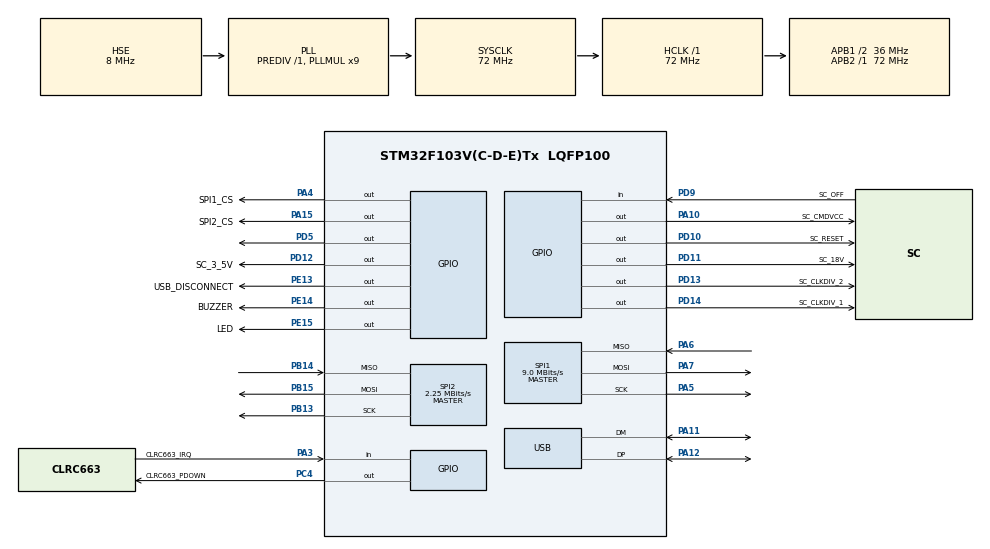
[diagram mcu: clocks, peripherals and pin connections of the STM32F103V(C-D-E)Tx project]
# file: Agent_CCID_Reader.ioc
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Mcu.Family=STM32F1
Mcu.Name=STM32F103V(C-D-E)Tx
Mcu.Package=LQFP100
NVIC.PriorityGroup=NVIC_PRIORITYGROUP_2
NVIC.SPI1_IRQn=true\:0\:3\:false\:false\:true\:true\:true\:true
NVIC.TIM1_CC_IRQn=true\:0\:3\:false\:false\:true\:true\:true\:true
NVIC.TIM2_IRQn=true\:3\:0\:false\:false\:true\:false\:true\:true
NVIC.TIM3_IRQn=true\:0\:3\:false\:false\:true\:true\:true\:true
NVIC.TIM4_IRQn=true\:0\:3\:false\:false\:true\:true\:true\:true
NVIC.TimeBase=TIM2_IRQn
NVIC.TimeBaseIP=TIM2
NVIC.USB_LP_CAN1_RX0_IRQn=true\:0\:2\:false\:false\:true\:false\:true\:true
OSC_IN.Mode=HSE-External-Oscillator
OSC_IN.Signal=RCC_OSC_IN
OSC_OUT.Mode=HSE-External-Oscillator
OSC_OUT.Signal=RCC_OSC_OUT
PA10.GPIO_Label=SC_CMDVCC
PA10.GPIO_Speed=GPIO_SPEED_FREQ_HIGH
PA10.PinState=GPIO_PIN_SET
PA10.Signal=GPIO_Output
PA11.Mode=Device
PA11.Signal=USB_DM
PA12.Mode=Device
PA12.Signal=USB_DP
PA13.Mode=Serial_Wire
PA13.Signal=SYS_JTMS-SWDIO
PA14.Mode=Serial_Wire
PA14.Signal=SYS_JTCK-SWCLK
PA15.GPIO_Label=SPI2_CS
PA15.PinState=GPIO_PIN_SET
PA15.Signal=GPIO_Output
PA3.GPIO_Label=CLRC663_IRQ
PA3.Signal=GPIO_Input
PA4.GPIO_Label=SPI1_CS
PA4.GPIO_Speed=GPIO_SPEED_FREQ_HIGH
PA4.PinState=GPIO_PIN_SET
PA4.Signal=GPIO_Output
PA5.Mode=Full_Duplex_Master
PA5.Signal=SPI1_SCK
PA6.Mode=Full_Duplex_Master
PA6.Signal=SPI1_MISO
PA7.Mode=Full_Duplex_Master
PA7.Signal=SPI1_MOSI
PB13.Mode=Full_Duplex_Master
PB13.Signal=SPI2_SCK
PB14.Mode=Full_Duplex_Master
PB14.Signal=SPI2_MISO
PB15.Mode=Full_Duplex_Master
PB15.Signal=SPI2_MOSI
PC4.GPIO_Label=CLRC663_PDOWN
PC4.GPIO_Speed=GPIO_SPEED_FREQ_HIGH
PC4.Signal=GPIO_Output
PD10.GPIO_Label=SC_RESET
PD10.GPIO_Speed=GPIO_SPEED_FREQ_HIGH
PD10.PinState=GPIO_PIN_RESET
PD10.Signal=GPIO_Output
PD11.GPIO_Label=SC_18V
PD11.GPIO_Speed=GPIO_SPEED_FREQ_HIGH
PD11.Signal=GPIO_Output
PD12.GPIO_Label=SC_3_5V
PD12.GPIO_Speed=GPIO_SPEED_FREQ_HIGH
PD12.Signal=GPIO_Output
PD13.GPIO_Label=SC_CLKDIV_2
PD13.GPIO_Speed=GPIO_SPEED_FREQ_HIGH
PD13.Signal=GPIO_Output
PD14.GPIO_Label=SC_CLKDIV_1
PD14.GPIO_Speed=GPIO_SPEED_FREQ_HIGH
PD14.Signal=GPIO_Output
PD5.Signal=GPIO_Output
PD9.GPIO_Label=SC_OFF
PD9.Signal=GPIO_Input
PE13.GPIO_Label=USB_DISCONNECT
PE13.GPIO_ModeDefaultOutputPP=GPIO_MODE_OUTPUT_OD
PE13.GPIO_PuPd=GPIO_NOPULL
PE13.GPIO_Speed=GPIO_SPEED_FREQ_MEDIUM
PE13.PinState=GPIO_PIN_SET
PE13.Signal=GPIO_Output
PE14.GPIO_Label=BUZZER
PE14.GPIO_Speed=GPIO_SPEED_FREQ_MEDIUM
PE14.Signal=GPIO_Output
PE15.GPIO_Label=LED
PE15.GPIO_Speed=GPIO_SPEED_FREQ_HIGH
PE15.Signal=GPIO_Output
ProjectManager.HeapSize=0x200
ProjectManager.StackSize=0x400
ProjectManager.TargetToolchain=MDK-ARM V5
RCC.AHBFreq_Value=72000000
RCC.APB1CLKDivider=RCC_HCLK_DIV2
RCC.APB1Freq_Value=36000000
RCC.APB1TimFreq_Value=72000000
RCC.APB2Freq_Value=72000000
RCC.APB2TimFreq_Value=72000000
RCC.HCLKFreq_Value=72000000
RCC.PLLMUL=RCC_PLL_MUL9
RCC.PLLSourceVirtual=RCC_PLLSOURCE_HSE
RCC.SYSCLKFreq_VALUE=72000000
RCC.SYSCLKSource=RCC_SYSCLKSOURCE_PLLCLK
RCC.USBFreq_Value=48000000
RCC.USBPrescaler=RCC_USBCLKSOURCE_PLL_DIV1_5
SPI1.BaudRatePrescaler=SPI_BAUDRATEPRESCALER_8
SPI1.CalculateBaudRate=9.0 MBits/s
SPI1.Direction=SPI_DIRECTION_2LINES
SPI1.Mode=SPI_MODE_MASTER
SPI1.VirtualType=VM_MASTER
SPI2.BaudRatePrescaler=SPI_BAUDRATEPRESCALER_16
SPI2.CalculateBaudRate=2.25 MBits/s
SPI2.Direction=SPI_DIRECTION_2LINES
SPI2.Mode=SPI_MODE_MASTER
SPI2.VirtualType=VM_MASTER
TIM1.AutoReloadPreload=TIM_AUTORELOAD_PRELOAD_ENABLE
TIM1.Prescaler=7199
TIM4.AutoReloadPreload=TIM_AUTORELOAD_PRELOAD_ENABLE
TIM4.Prescaler=7199
USB_DEVICE.CLASS_NAME_FS=CUSTOM_HID
USB_DEVICE.VirtualMode=CustomHid
USB_DEVICE.VirtualModeFS=Custom_Hid_FS
VP_SYS_VS_tim2.Mode=TIM2
VP_TIM1_VS_ClockSourceINT.Mode=Internal
VP_TIM3_VS_ClockSourceINT.Mode=Internal
VP_TIM4_VS_ClockSourceINT.Mode=Internal
VP_USB_DEVICE_VS_USB_DEVICE_CUSTOM_HID_FS.Mode=CUSTOM_HID_FS
board=custom

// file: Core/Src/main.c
/* USER CODE BEGIN Header */
/**
 ******************************************************************************
 * @file    main.c
 * @brief   主程序入口及核心逻辑控制文件
 * @author  Antigravity
 * @version 1.0
 * @date    2026-06-02
 *
 * @copyright Copyright (c) 2026 STMicroelectronics.
 * All rights reserved.
 *
 * 本软件根据可以在本软件组件根目录的 LICENSE 文件中找到的条款进行许可。
 * 如果没有 LICENSE 文件，则按“原样”提供本软件。
 ******************************************************************************
*/
/* USER CODE END Header */
#include "main.h"
#include "spi.h"
#include "tim.h"
#include "usb_device.h"
#include "gpio.h"

/* USER CODE BEGIN Includes */
#include "CLRC663_SPI.h"
#include "CLRC663_Register.h"
/* USER CODE END Includes */

void SystemClock_Config(void);

/**
 * @brief   应用程序入口点
 * @retval  int 返回状态/数值
*/
int main(void)
{

    /* USER CODE BEGIN 1 */
		uint8_t clrc663_ver;

    /* USER CODE END 1 */

    /* MCU Configuration--------------------------------------------------------*/

    /* Reset of all peripherals, Initializes the Flash interface and the Systick. */
    HAL_Init();

    /* Configure the system clock */
    SystemClock_Config();

    /* Initialize all configured peripherals */
    MX_GPIO_Init();
    MX_SPI1_Init();
    MX_SPI2_Init();
    MX_TIM1_Init();
    MX_TIM3_Init();
    MX_TIM4_Init();
    MX_USB_DEVICE_Init();
    /* USER CODE BEGIN 2 */
    printf("Agent_CCID_Reader initialized. RTT Log Enabled!\r\n");

    /* 确保 CLRC663 片选 NSS 初始化为高电平（空闲） */
    CLRC663_NSS_HIGH();

    /* 硬件就绪稳定延时 */
    HAL_Delay(10);

    /* 执行 CLRC663 硬件复位并校验 */
    if (CLRC663_HW_Reset() == 1) {
        printf("CLRC663 Hardware Reset: SUCCESS (Command Reg: 0x40)\r\n");
    } else {
        printf("CLRC663 Hardware Reset: FAILED!\r\n");
    }

    /* 读取并打印 CLRC663 芯片的版本寄存器信息 */
    clrc663_ver = CLRC663_ReadReg(CLRC663_REG_VERSION);
//    CLRC663_WriteReg(CLRC663_REG_FIFODATA,0x55);
//    clrc663_ver = CLRC663_ReadReg(CLRC663_REG_FIFOLENGTH);
//    CLRC663_WriteReg(CLRC663_REG_FIFODATA,0x66);
//    clrc663_ver = CLRC663_ReadReg(CLRC663_REG_FIFOLENGTH);

    printf("CLRC663 Chip Version: 0x%02X\r\n", clrc663_ver);
    /* USER CODE END 2 */

    /* Infinite loop */
    while (1)
    {

    }
}

/**
 * @brief   系统时钟配置
 * @retval  无
*/
void SystemClock_Config(void)
{
    RCC_OscInitTypeDef RCC_OscInitStruct = {0};
    RCC_ClkInitTypeDef RCC_ClkInitStruct = {0};
    RCC_PeriphCLKInitTypeDef PeriphClkInit = {0};

    /** Initializes the RCC Oscillators according to the specified parameters
     * in the RCC_OscInitTypeDef structure.
    */
    RCC_OscInitStruct.OscillatorType = RCC_OSCILLATORTYPE_HSE;
    RCC_OscInitStruct.HSEState = RCC_HSE_ON;
    RCC_OscInitStruct.HSEPredivValue = RCC_HSE_PREDIV_DIV1;
    RCC_OscInitStruct.HSIState = RCC_HSI_ON;
    RCC_OscInitStruct.PLL.PLLState = RCC_PLL_ON;
    RCC_OscInitStruct.PLL.PLLSource = RCC_PLLSOURCE_HSE;
    RCC_OscInitStruct.PLL.PLLMUL = RCC_PLL_MUL9;
    if (HAL_RCC_OscConfig(&RCC_OscInitStruct) != HAL_OK)
    {
        Error_Handler();
    }

    /** Initializes the CPU, AHB and APB buses clocks
    */
    RCC_ClkInitStruct.ClockType = RCC_CLOCKTYPE_HCLK|RCC_CLOCKTYPE_SYSCLK
    |RCC_CLOCKTYPE_PCLK1|RCC_CLOCKTYPE_PCLK2;
    RCC_ClkInitStruct.SYSCLKSource = RCC_SYSCLKSOURCE_PLLCLK;
    RCC_ClkInitStruct.AHBCLKDivider = RCC_SYSCLK_DIV1;
    RCC_ClkInitStruct.APB1CLKDivider = RCC_HCLK_DIV2;
    RCC_ClkInitStruct.APB2CLKDivider = RCC_HCLK_DIV1;

    if (HAL_RCC_ClockConfig(&RCC_ClkInitStruct, FLASH_LATENCY_2) != HAL_OK)
    {
        Error_Handler();
    }
    PeriphClkInit.PeriphClockSelection = RCC_PERIPHCLK_USB;
    PeriphClkInit.UsbClockSelection = RCC_USBCLKSOURCE_PLL_DIV1_5;
    if (HAL_RCCEx_PeriphCLKConfig(&PeriphClkInit) != HAL_OK)
    {
        Error_Handler();
    }
}

/* USER CODE BEGIN 4 */
#if defined(__GNUC__)

/**
 * @brief   执行 _write 操作
 * @param   file 发生错误的文件名字符串
 * @param   ptr ptr 参数
 * @param   len 数据长度
 * @retval  int 返回状态/数值
*/
int _write(int file, char *ptr, int len)
{
    (void)file;
    SEGGER_RTT_Write(0, ptr, len);
    return len;
}
#elif defined(__CC_ARM) || defined(__CLANG_ARM)
#ifndef __MICROLIB
/* 禁用半主机模式 */
#pragma import(__use_no_semihosting)

struct __FILE {
    int handle;
};
FILE __stdout;

/**
 * @brief   执行 _sys_exit 操作
 * @param   x x 参数
 * @retval  无
*/
void _sys_exit(int x)
{
    (void)x;
}

/**
 * @brief   执行 _ttywrch 操作
 * @param   ch ch 参数
 * @retval  int 返回状态/数值
*/
int _ttywrch(int ch)
{
    SEGGER_RTT_PutChar(0, ch);
    return ch;
}
#endif /* __MICROLIB */

/**
 * @brief   执行 fputc 操作
 * @param   ch ch 参数
 * @param   f f 参数
 * @retval  int 返回状态/数值
*/
int fputc(int ch, FILE *f)
{
    (void)f;
    SEGGER_RTT_PutChar(0, ch);
    return ch;
}
#endif
/* USER CODE END 4 */

/**
 * @brief   定时器周期溢出回调函数
 * @param   htim TIM 句柄指针
 * @retval  无
*/
void HAL_TIM_PeriodElapsedCallback(TIM_HandleTypeDef *htim)
{
    if (htim->Instance == TIM2)
    {
        HAL_IncTick();
    }
}

/**
 * @brief   错误处理函数
 * @retval  无
*/
void Error_Handler(void)
{
    __disable_irq();
    while (1)
    {
    }
}
